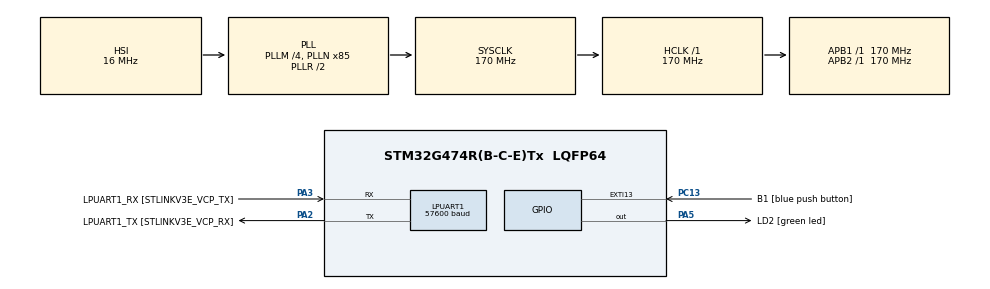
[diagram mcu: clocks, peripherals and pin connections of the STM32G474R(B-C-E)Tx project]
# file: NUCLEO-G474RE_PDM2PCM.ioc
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LPUART1.BaudRate=57600
LPUART1.WordLength=UART_WORDLENGTH_8B
Mcu.Family=STM32G4
Mcu.Name=STM32G474R(B-C-E)Tx
Mcu.Package=LQFP64
NVIC.EXTI15_10_IRQn=true\:0\:0\:false\:false\:true\:true\:true\:true
NVIC.PriorityGroup=NVIC_PRIORITYGROUP_4
PA13.GPIO_Label=T_SWDIO
PA13.Mode=Trace_Asynchronous_SW
PA13.Signal=SYS_JTMS-SWDIO
PA14.GPIO_Label=T_SWCLK
PA14.Mode=Trace_Asynchronous_SW
PA14.Signal=SYS_JTCK-SWCLK
PA2.GPIO_Label=LPUART1_TX [STLINKV3E_VCP_RX]
PA2.Mode=Asynchronous
PA2.Signal=LPUART1_TX
PA3.GPIO_Label=LPUART1_RX [STLINKV3E_VCP_TX]
PA3.Mode=Asynchronous
PA3.Signal=LPUART1_RX
PA5.GPIO_Label=LD2 [green led]
PA5.Signal=GPIO_Output
PB3.GPIO_Label=T_SWO
PB3.Mode=Trace_Asynchronous_SW
PB3.Signal=SYS_JTDO-SWO
PC13.GPIO_Label=B1 [blue push button]
PC13.Signal=GPXTI13
PC14-OSC32_IN.Mode=LSE-External-Oscillator
PC14-OSC32_IN.Signal=RCC_OSC32_IN
PC15-OSC32_OUT.Mode=LSE-External-Oscillator
PC15-OSC32_OUT.Signal=RCC_OSC32_OUT
PF0-OSC_IN.Mode=HSE-External-Oscillator
PF0-OSC_IN.Signal=RCC_OSC_IN
PF1-OSC_OUT.Mode=HSE-External-Oscillator
PF1-OSC_OUT.Signal=RCC_OSC_OUT
ProjectManager.HeapSize=0x200
ProjectManager.StackSize=0x400
ProjectManager.TargetToolchain=STM32CubeIDE
RCC.ADC12Freq_Value=170000000
RCC.ADC345Freq_Value=170000000
RCC.AHBFreq_Value=170000000
RCC.APB1Freq_Value=170000000
RCC.APB1TimFreq_Value=170000000
RCC.APB2Freq_Value=170000000
RCC.APB2TimFreq_Value=170000000
RCC.CortexFreq_Value=170000000
RCC.EXTERNAL_CLOCK_VALUE=12288000
RCC.HCLKFreq_Value=170000000
RCC.HSE_VALUE=24000000
RCC.HSI48_VALUE=48000000
RCC.HSI_VALUE=16000000
RCC.PLLM=RCC_PLLM_DIV4
RCC.PLLN=85
RCC.RTCClockSelection=RCC_RTCCLKSOURCE_LSE
RCC.SYSCLKFreq_VALUE=170000000
RCC.SYSCLKSource=RCC_SYSCLKSOURCE_PLLCLK
RCC.USBFreq_Value=170000000
RCC.VCOOutputFreq_Value=340000000
VP_CRC_VS_CRC.Mode=CRC_Activate
VP_SYS_VS_DBSignals.Mode=DisableDeadBatterySignals
board=NUCLEO-G474RE

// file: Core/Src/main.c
/* USER CODE BEGIN Header */
/**
  ******************************************************************************
  * @file           : main.c
  * @brief          : Main program body
  ******************************************************************************
  * @attention
  *
  * Copyright (c) 2022 STMicroelectronics.
  * All rights reserved.
  *
  * This software is licensed under terms that can be found in the LICENSE file
  * in the root directory of this software component.
  * If no LICENSE file comes with this software, it is provided AS-IS.
  *
  ******************************************************************************
  */
/* USER CODE END Header */
#include "main.h"

/* USER CODE BEGIN Includes */

#include "pdm2pcm.h"
#include <stdio.h>
#include "pdm_tones.h"

/* USER CODE END Includes */

 CRC_HandleTypeDef hcrc;

UART_HandleTypeDef hlpuart1;

/* USER CODE BEGIN PV */

int16_t PCM_outBuffer[1000];

/* USER CODE END PV */

void SystemClock_Config(void);
static void MX_GPIO_Init(void);
static void MX_LPUART1_UART_Init(void);
static void MX_CRC_Init(void);
/* USER CODE BEGIN PFP */

#define PUTCHAR_PROTOTYPE int __io_putchar(int ch)

/* USER CODE END PFP */

int main(void)
{

  /* MCU Configuration--------------------------------------------------------*/

  /* Reset of all peripherals, Initializes the Flash interface and the Systick. */
  HAL_Init();

  /* Configure the system clock */
  SystemClock_Config();

  /* Initialize all configured peripherals */
  MX_GPIO_Init();
  MX_LPUART1_UART_Init();
  //MX_CRC_Init();
  /* USER CODE BEGIN 2 */

  MX_PDM2PCM_Init();

  printf("NUCLEO-G474RE_PDM2PCM... \n");

	// first bit to MSB - 8bit tone "AA"
	for(uint16_t i = 0; i < sizeof(tone500HzA4_pdmdata) * 4; i++)
	{
		pdmBuffer8_8000bits_1000bytes_1[i >> 3] = 0x55;
//		printf("i = %d,  i >>3 = %d, i mod sizeof(tone500HzA4_pdmdata) = %d \n",i, i >>3, i % sizeof(tone500HzA4_pdmdata));
	}

	// first bit to MSB - 8bit tone500Hz_pdmdata
	for(uint16_t i = 0; i < sizeof(tone500Hz_pdmdata) * 4; i++)
	{
		pdmBuffer8_8000bits_1000bytes_2[i >> 3] = (pdmBuffer8_8000bits_1000bytes_2[i >> 3] << 1) + tone500Hz_pdmdata[i % sizeof(tone500Hz_pdmdata)];
//		printf("i = %d,  i >>3 = %d, i mod sizeof(tone500Hz_pdmdata) = %d \n",i, i >>3, i % sizeof(tone500Hz_pdmdata));
	}

	// first bit to MSB - 8bit tone500HzA4_pdmdata
	for(uint16_t i = 0; i < sizeof(tone500HzA4_pdmdata) * 4; i++)
	{
		pdmBuffer8_8000bits_1000bytes_3[i >> 3] = (pdmBuffer8_8000bits_1000bytes_3[i >> 3] << 1) + tone500HzA4_pdmdata[i % sizeof(tone500HzA4_pdmdata)];
//		printf("i = %d,  i >>3 = %d, i mod sizeof(tone500HzA4_pdmdata) = %d \n",i, i >>3, i % sizeof(tone500HzA4_pdmdata));
	}

//	GPIOD->BSRR = (1<<15); // Set
	PDM_Filter(&pdmBuffer8_8000bits_1000bytes_1[0],&PCM_outBuffer[0], &PDM1_filter_handler);
//	GPIOD->BSRR  = (1<< (15 + 16) ); // Reset
	PDM_Filter(&pdmBuffer8_8000bits_1000bytes_2[0],&PCM_outBuffer[125], &PDM1_filter_handler);
//	GPIOD->BSRR = (1<<15); // Set
	PDM_Filter(&pdmBuffer8_8000bits_1000bytes_1[0],&PCM_outBuffer[250], &PDM1_filter_handler);
//	GPIOD->BSRR  = (1<< (15 + 16) ); // Reset
	PDM_Filter(&pdmBuffer8_8000bits_1000bytes_3[0],&PCM_outBuffer[375], &PDM1_filter_handler);
//	GPIOD->BSRR = (1<<15); // Set

	printf("PCM_outBuffer \n");
	for (uint16_t Index = 0; Index < 500; Index++)
	{
		printf("%d %d\n",Index, PCM_outBuffer[Index]);
	}

  /* USER CODE END 2 */

  /* Infinite loop */
  while (1)
  {

  }
}

void SystemClock_Config(void)
{
  RCC_OscInitTypeDef RCC_OscInitStruct = {0};
  RCC_ClkInitTypeDef RCC_ClkInitStruct = {0};

  /** Configure the main internal regulator output voltage
  */
  HAL_PWREx_ControlVoltageScaling(PWR_REGULATOR_VOLTAGE_SCALE1_BOOST);

  /** Initializes the RCC Oscillators according to the specified parameters
  * in the RCC_OscInitTypeDef structure.
  */
  RCC_OscInitStruct.OscillatorType = RCC_OSCILLATORTYPE_HSI;
  RCC_OscInitStruct.HSIState = RCC_HSI_ON;
  RCC_OscInitStruct.HSICalibrationValue = RCC_HSICALIBRATION_DEFAULT;
  RCC_OscInitStruct.PLL.PLLState = RCC_PLL_ON;
  RCC_OscInitStruct.PLL.PLLSource = RCC_PLLSOURCE_HSI;
  RCC_OscInitStruct.PLL.PLLM = RCC_PLLM_DIV4;
  RCC_OscInitStruct.PLL.PLLN = 85;
  RCC_OscInitStruct.PLL.PLLP = RCC_PLLP_DIV2;
  RCC_OscInitStruct.PLL.PLLQ = RCC_PLLQ_DIV2;
  RCC_OscInitStruct.PLL.PLLR = RCC_PLLR_DIV2;
  if (HAL_RCC_OscConfig(&RCC_OscInitStruct) != HAL_OK)
  {
    Error_Handler();
  }

  /** Initializes the CPU, AHB and APB buses clocks
  */
  RCC_ClkInitStruct.ClockType = RCC_CLOCKTYPE_HCLK|RCC_CLOCKTYPE_SYSCLK
                              |RCC_CLOCKTYPE_PCLK1|RCC_CLOCKTYPE_PCLK2;
  RCC_ClkInitStruct.SYSCLKSource = RCC_SYSCLKSOURCE_PLLCLK;
  RCC_ClkInitStruct.AHBCLKDivider = RCC_SYSCLK_DIV1;
  RCC_ClkInitStruct.APB1CLKDivider = RCC_HCLK_DIV1;
  RCC_ClkInitStruct.APB2CLKDivider = RCC_HCLK_DIV1;

  if (HAL_RCC_ClockConfig(&RCC_ClkInitStruct, FLASH_LATENCY_4) != HAL_OK)
  {
    Error_Handler();
  }
}

static void MX_CRC_Init(void)
{

  hcrc.Instance = CRC;
  hcrc.Init.DefaultPolynomialUse = DEFAULT_POLYNOMIAL_ENABLE;
  hcrc.Init.DefaultInitValueUse = DEFAULT_INIT_VALUE_ENABLE;
  hcrc.Init.InputDataInversionMode = CRC_INPUTDATA_INVERSION_NONE;
  hcrc.Init.OutputDataInversionMode = CRC_OUTPUTDATA_INVERSION_DISABLE;
  hcrc.InputDataFormat = CRC_INPUTDATA_FORMAT_BYTES;
  if (HAL_CRC_Init(&hcrc) != HAL_OK)
  {
    Error_Handler();
  }

}

static void MX_LPUART1_UART_Init(void)
{

  hlpuart1.Instance = LPUART1;
  hlpuart1.Init.BaudRate = 57600;
  hlpuart1.Init.WordLength = UART_WORDLENGTH_8B;
  hlpuart1.Init.StopBits = UART_STOPBITS_1;
  hlpuart1.Init.Parity = UART_PARITY_NONE;
  hlpuart1.Init.Mode = UART_MODE_TX_RX;
  hlpuart1.Init.HwFlowCtl = UART_HWCONTROL_NONE;
  hlpuart1.Init.OneBitSampling = UART_ONE_BIT_SAMPLE_DISABLE;
  hlpuart1.Init.ClockPrescaler = UART_PRESCALER_DIV1;
  hlpuart1.AdvancedInit.AdvFeatureInit = UART_ADVFEATURE_NO_INIT;
  if (HAL_UART_Init(&hlpuart1) != HAL_OK)
  {
    Error_Handler();
  }
  if (HAL_UARTEx_SetTxFifoThreshold(&hlpuart1, UART_TXFIFO_THRESHOLD_1_8) != HAL_OK)
  {
    Error_Handler();
  }
  if (HAL_UARTEx_SetRxFifoThreshold(&hlpuart1, UART_RXFIFO_THRESHOLD_1_8) != HAL_OK)
  {
    Error_Handler();
  }
  if (HAL_UARTEx_DisableFifoMode(&hlpuart1) != HAL_OK)
  {
    Error_Handler();
  }

}

static void MX_GPIO_Init(void)
{
  GPIO_InitTypeDef GPIO_InitStruct = {0};

  /* GPIO Ports Clock Enable */
  __HAL_RCC_GPIOC_CLK_ENABLE();
  __HAL_RCC_GPIOF_CLK_ENABLE();
  __HAL_RCC_GPIOA_CLK_ENABLE();
  __HAL_RCC_GPIOB_CLK_ENABLE();

  /*Configure GPIO pin Output Level */
  HAL_GPIO_WritePin(LD2_GPIO_Port, LD2_Pin, GPIO_PIN_RESET);

  /*Configure GPIO pin : B1_Pin */
  GPIO_InitStruct.Pin = B1_Pin;
  GPIO_InitStruct.Mode = GPIO_MODE_IT_RISING;
  GPIO_InitStruct.Pull = GPIO_NOPULL;
  HAL_GPIO_Init(B1_GPIO_Port, &GPIO_InitStruct);

  /*Configure GPIO pin : LD2_Pin */
  GPIO_InitStruct.Pin = LD2_Pin;
  GPIO_InitStruct.Mode = GPIO_MODE_OUTPUT_PP;
  GPIO_InitStruct.Pull = GPIO_NOPULL;
  GPIO_InitStruct.Speed = GPIO_SPEED_FREQ_LOW;
  HAL_GPIO_Init(LD2_GPIO_Port, &GPIO_InitStruct);

  /* EXTI interrupt init*/
  HAL_NVIC_SetPriority(EXTI15_10_IRQn, 0, 0);
  HAL_NVIC_EnableIRQ(EXTI15_10_IRQn);

}

/* USER CODE BEGIN 4 */

PUTCHAR_PROTOTYPE
{
  /* Place your implementation of fputc here */
  /* e.g. write a character to the LPUART1 and Loop until the end of transmission */
  HAL_UART_Transmit(&hlpuart1, (uint8_t *)&ch, 1, 0xFFFF);

  return ch;
}

/* USER CODE END 4 */

void Error_Handler(void)
{
  __disable_irq();
  while (1)
  {
  }
}
